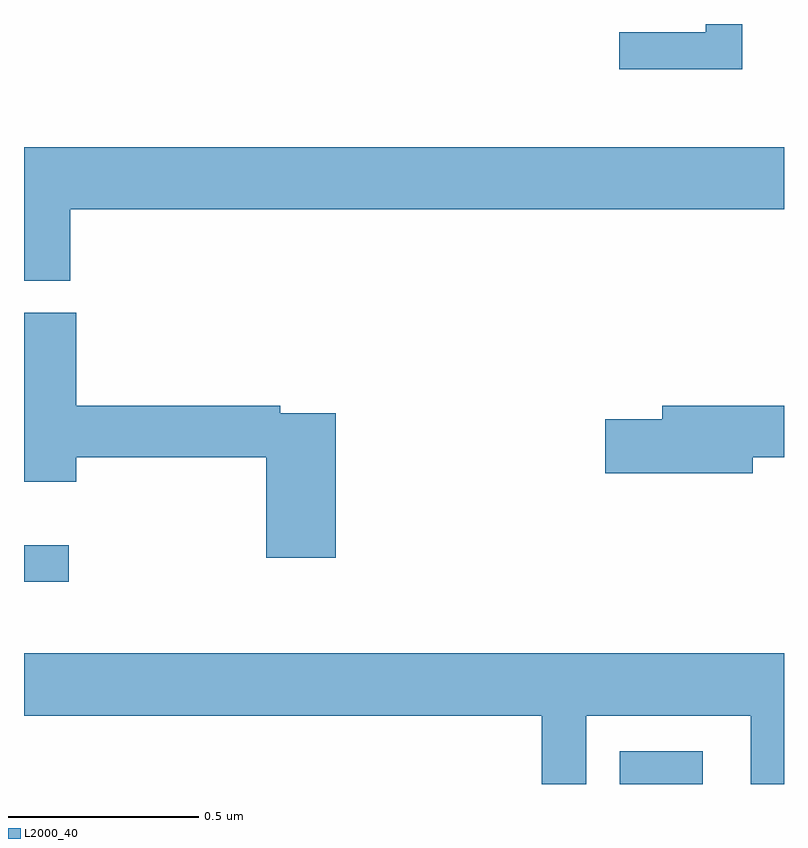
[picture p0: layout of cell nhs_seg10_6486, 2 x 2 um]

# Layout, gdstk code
import gdstk
lib = gdstk.Library(unit=1e-6, precision=1e-09)
def R(c, l, rs):  # rectangles x0, y0, x1, y1
    for r in rs: c.add(gdstk.rectangle(r[:2], r[2:], *l))
def P(c, l, *ps):  # polygons
    for p in ps: c.add(gdstk.Polygon(p, *l))
L2000_40 = (2000, 40)

nhs_seg10_6486 = lib.new_cell('nhs_seg10_6486')
R(nhs_seg10_6486, L2000_40, [(193.568,1269.5,193.786,1269.586), (192,1270.032,192.118,1270.128)])
P(nhs_seg10_6486, L2000_40, [(193.89,1271.5),(193.794,1271.5),(193.794,1271.478),(193.566,1271.478),(193.566,1271.381),(193.89,1271.381)],
  [(192.122,1271.012),(194,1271.012),(194,1271.176),(192,1271.176),(192,1270.825),(192.122,1270.825)],
  [(192.821,1270.476),(192.674,1270.476),(192.674,1270.496),(192.137,1270.496),(192.137,1270.74),(192,1270.74),(192,1270.296),(192.137,1270.296),(192.137,1270.36),(192.638,1270.36),(192.638,1270.095),(192.821,1270.095)],
  [(193.918,1270.36),(194,1270.36),(194,1270.496),(193.679,1270.496),(193.679,1270.46),(193.53,1270.46),(193.53,1270.318),(193.918,1270.318)],
  [(193.479,1269.68),(193.913,1269.68),(193.913,1269.5),(194,1269.5),(194,1269.844),(192,1269.844),(192,1269.68),(193.363,1269.68),(193.363,1269.5),(193.479,1269.5)])

lib.write_gds('nhs_seg10_6486.gds')
